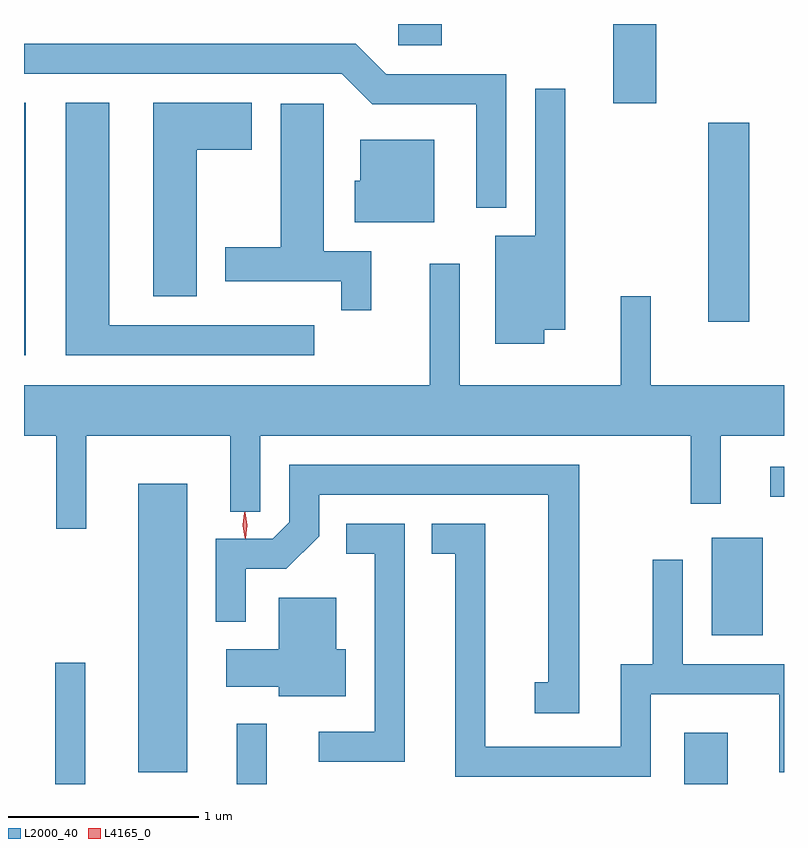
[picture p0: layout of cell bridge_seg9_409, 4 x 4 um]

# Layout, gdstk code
import gdstk
lib = gdstk.Library(unit=1e-6, precision=1e-09)
def R(c, l, rs):  # rectangles x0, y0, x1, y1
    for r in rs: c.add(gdstk.rectangle(r[:2], r[2:], *l))
def P(c, l, *ps):  # polygons
    for p in ps: c.add(gdstk.Polygon(p, *l))
L2000_40 = (2000, 40)
L4165_0 = (4165, 0)

bridge_seg9_409 = lib.new_cell('bridge_seg9_409')
R(bridge_seg9_409, L2000_40, [(439.391,2069.904,439.549,2070.543), (440.346,2069.904,440.504,2070.222), (442.701,2069.904,442.929,2070.174), (439.826,2069.966,440.084,2071.484), (442.846,2070.686,443.114,2071.199), (443.153,2071.416,443.226,2071.574), (439.226,2072.161,439.234,2073.489), (442.826,2072.336,443.044,2073.384), (442.326,2073.486,442.554,2073.904), (441.196,2073.791,441.424,2073.904)])
P(bridge_seg9_409, L2000_40, [(441.764,2073.639),(441.132,2073.639),(440.972,2073.799),(439.226,2073.799),(439.226,2073.641),(440.899,2073.641),(441.059,2073.481),(441.606,2073.481),(441.606,2072.938),(441.764,2072.938)],
  [(441.964,2072.296),(442.074,2072.296),(442.074,2073.563),(441.916,2073.563),(441.916,2072.789),(441.706,2072.789),(441.706,2072.221),(441.964,2072.221)],
  [(440.134,2073.241),(440.424,2073.241),(440.424,2073.489),(439.906,2073.489),(439.906,2072.471),(440.134,2072.471)],
  [(440.753,2072.319),(439.674,2072.319),(439.674,2073.489),(439.446,2073.489),(439.446,2072.161),(440.753,2072.161)],
  [(441.054,2072.709),(440.804,2072.709),(440.804,2073.484),(440.576,2073.484),(440.576,2072.729),(440.286,2072.729),(440.286,2072.551),(440.896,2072.551),(440.896,2072.398),(441.054,2072.398)],
  [(441.384,2073.294),(440.996,2073.294),(440.996,2073.079),(440.966,2073.079),(440.966,2072.861),(441.384,2072.861)],
  [(439.554,2071.736),(440.311,2071.736),(440.311,2071.338),(440.469,2071.338),(440.469,2071.736),(442.736,2071.736),(442.736,2071.378),(442.894,2071.378),(442.894,2071.736),(443.226,2071.736),(443.226,2072.004),(442.524,2072.004),(442.524,2072.472),(442.366,2072.472),(442.366,2072.004),(441.519,2072.004),(441.519,2072.643),(441.361,2072.643),(441.361,2072.004),(439.226,2072.004),(439.226,2071.736),(439.396,2071.736),(439.396,2071.248),(439.554,2071.248)],
  [(442.149,2071.584),(440.621,2071.584),(440.621,2071.282),(440.534,2071.194),(440.236,2071.194),(440.236,2070.758),(440.394,2070.758),(440.394,2071.036),(440.607,2071.036),(440.779,2071.209),(440.779,2071.426),(441.986,2071.426),(441.986,2070.439),(441.913,2070.439),(441.913,2070.276),(442.149,2070.276)],
  [(442.524,2070.376),(443.201,2070.376),(443.201,2069.966),(443.226,2069.966),(443.226,2070.534),(442.694,2070.534),(442.694,2071.083),(442.536,2071.083),(442.536,2070.534),(442.366,2070.534),(442.366,2070.099),(441.654,2070.099),(441.654,2071.274),(441.373,2071.274),(441.373,2071.116),(441.496,2071.116),(441.496,2069.941),(442.524,2069.941)],
  [(441.229,2071.274),(440.923,2071.274),(440.923,2071.116),(441.071,2071.116),(441.071,2070.179),(440.778,2070.179),(440.778,2070.021),(441.229,2070.021)],
  [(440.919,2070.614),(440.869,2070.614),(440.869,2070.884),(440.566,2070.884),(440.566,2070.614),(440.291,2070.614),(440.291,2070.416),(440.566,2070.416),(440.566,2070.366),(440.919,2070.366)])
P(bridge_seg9_409, L4165_0, [(440.388,2071.199),(440.388,2071.2),(440.377,2071.265),(440.386,2071.332),(440.386,2071.332),(440.387,2071.332),(440.397,2071.266),(440.389,2071.2)],
  [(440.392,2071.196),(440.391,2071.197),(440.381,2071.266),(440.389,2071.335),(440.39,2071.336),(440.39,2071.335),(440.401,2071.266),(440.392,2071.197)])

lib.write_gds('bridge_seg9_409.gds')
